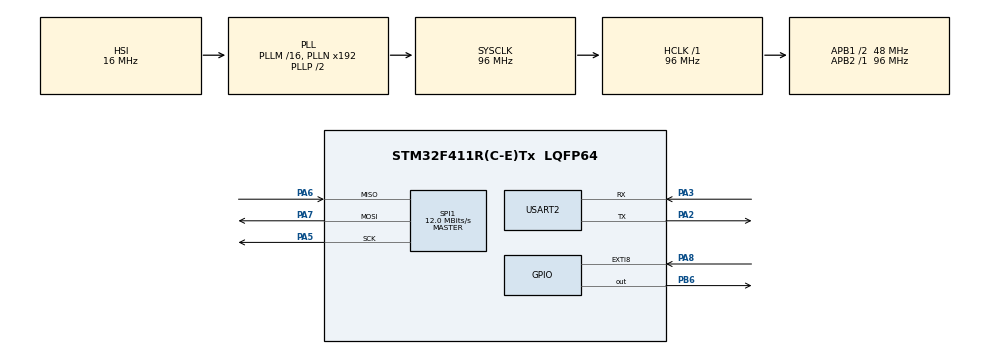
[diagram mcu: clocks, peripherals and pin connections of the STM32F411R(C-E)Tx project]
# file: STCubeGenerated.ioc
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Mcu.Family=STM32F4
Mcu.Name=STM32F411R(C-E)Tx
Mcu.Package=LQFP64
NVIC.EXTI9_5_IRQn=true\:0\:0\:false\:false\:true\:true\:true
NVIC.PriorityGroup=NVIC_PRIORITYGROUP_4
NVIC.SPI1_IRQn=true\:0\:0\:false\:false\:true\:true\:true
NVIC.USART2_IRQn=true\:0\:0\:false\:false\:true\:true\:true
PA13.Mode=Serial_Wire
PA13.Signal=SYS_JTMS-SWDIO
PA14.Mode=Serial_Wire
PA14.Signal=SYS_JTCK-SWCLK
PA2.Mode=Asynchronous
PA2.Signal=USART2_TX
PA3.Mode=Asynchronous
PA3.Signal=USART2_RX
PA5.Mode=Full_Duplex_Master
PA5.Signal=SPI1_SCK
PA6.Mode=Full_Duplex_Master
PA6.Signal=SPI1_MISO
PA7.Mode=Full_Duplex_Master
PA7.Signal=SPI1_MOSI
PA8.Signal=GPXTI8
PB6.Signal=GPIO_Output
PC14-OSC32_IN.Mode=LSE-External-Oscillator
PC14-OSC32_IN.Signal=RCC_OSC32_IN
PC15-OSC32_OUT.Mode=LSE-External-Oscillator
PC15-OSC32_OUT.Signal=RCC_OSC32_OUT
PH0\ -\ OSC_IN.Mode=HSE-External-Clock-Source
PH0\ -\ OSC_IN.Signal=RCC_OSC_IN
PH1\ -\ OSC_OUT.Mode=HSE-External-Clock-Source
PH1\ -\ OSC_OUT.Signal=RCC_OSC_OUT
ProjectManager.HeapSize=0x200
ProjectManager.StackSize=0x400
ProjectManager.TargetToolchain=MDK-ARM V5
RCC.AHBFreq_Value=96000000
RCC.APB1CLKDivider=RCC_HCLK_DIV2
RCC.APB1Freq_Value=48000000
RCC.APB1TimFreq_Value=96000000
RCC.APB2Freq_Value=96000000
RCC.APB2TimFreq_Value=96000000
RCC.CortexFreq_Value=96000000
RCC.HCLKFreq_Value=96000000
RCC.HSE_VALUE=25000000
RCC.HSI_VALUE=16000000
RCC.SYSCLKFreq_VALUE=96000000
RCC.SYSCLKSource=RCC_SYSCLKSOURCE_PLLCLK
RCC.VCOOutputFreq_Value=192000000
SPI1.BaudRatePrescaler=SPI_BAUDRATEPRESCALER_8
SPI1.CalculateBaudRate=12.0 MBits/s
SPI1.Direction=SPI_DIRECTION_2LINES
SPI1.Mode=SPI_MODE_MASTER
SPI1.VirtualType=VM_MASTER
USART2.VirtualMode=VM_ASYNC
board=custom

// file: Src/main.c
/* USER CODE BEGIN Header */
/**
  ******************************************************************************
  * @file           : main.c
  * @brief          : Main program body
  ******************************************************************************
  * @attention
  *
  * <h2><center>&copy; Copyright (c) 2019 STMicroelectronics.
  * All rights reserved.</center></h2>
  *
  * This software component is licensed by ST under BSD 3-Clause license,
  * the "License"; You may not use this file except in compliance with the
  * License. You may obtain a copy of the License at:
  *                        opensource.org/licenses/BSD-3-Clause
  *
  ******************************************************************************
  */
/* USER CODE END Header */

#include "main.h"

/* USER CODE BEGIN Includes */
#include "stdio.h"
#include "string.h"
/* USER CODE END Includes */

/* USER CODE BEGIN PD */
#define KEIL //KEIL ,True_STD
/* USER CODE END PD */

SPI_HandleTypeDef hspi1;

UART_HandleTypeDef huart2;

/* USER CODE BEGIN PV */
#ifdef KEIL
     #ifdef __GNUC__
     //With GCC, small printf (option LD Linker->Libraries->Small printf
     //set to 'Yes') calls __io_putchar()
         #define PUTCHAR_PROTOTYPE int __io_putchar(int ch)
		#else
				 #define PUTCHAR_PROTOTYPE int fputc(int ch, FILE *f)
		#endif /* __GNUC__*/
PUTCHAR_PROTOTYPE
{
	HAL_UART_Transmit(&huart2, (uint8_t *)&ch, 1, 0xFFFF);
	return ch;
}
#endif

#ifdef True_STD
int _write(int fd, char *str, int len)
{
	for(int i=0; i<len; i++)
	{
		HAL_UART_Transmit(&huart2, (uint8_t *)&str[i], 1, 0xFFFF);
	}
	return len;
}
#endif
uint8_t rxData;
void HAL_UART_RxCpltCallback(UART_HandleTypeDef *huart) {

	/*
			This will be called once data is received successfully,
			via interrupts.
	*/

	 /*
		 loop back received data
	 */
	 HAL_UART_Receive_IT(&huart2, &rxData, 1);
	 HAL_UART_Transmit(&huart2, &rxData, 1, 1000);
	 //massage input end enter key flag
	#if 0
	 URX_BUF[URX_BUF_cnt++] = rxData;
	 if((rxData == '\r') ||(URX_BUF_cnt > 512))
	 {
		 URX_BUF_Flag = 1;
	 }
	#endif
}
/* USER CODE END PV */

void SystemClock_Config(void);
static void MX_GPIO_Init(void);
static void MX_SPI1_Init(void);
static void MX_USART2_UART_Init(void);

int main(void)
{

  /* MCU Configuration--------------------------------------------------------*/

  /* Reset of all peripherals, Initializes the Flash interface and the Systick. */
  HAL_Init();

  /* Configure the system clock */
  SystemClock_Config();

  /* Initialize all configured peripherals */
  MX_GPIO_Init();
  MX_SPI1_Init();
  MX_USART2_UART_Init();
  /* USER CODE BEGIN 2 */
	printf("hello !!\r\n");
  /* USER CODE END 2 */

  /* Infinite loop */
  while (1)
  {

  }
}

void SystemClock_Config(void)
{
  RCC_OscInitTypeDef RCC_OscInitStruct = {0};
  RCC_ClkInitTypeDef RCC_ClkInitStruct = {0};

  /** Configure the main internal regulator output voltage
  */
  __HAL_RCC_PWR_CLK_ENABLE();
  __HAL_PWR_VOLTAGESCALING_CONFIG(PWR_REGULATOR_VOLTAGE_SCALE1);
  /** Initializes the CPU, AHB and APB busses clocks
  */
  RCC_OscInitStruct.OscillatorType = RCC_OSCILLATORTYPE_HSI;
  RCC_OscInitStruct.HSIState = RCC_HSI_ON;
  RCC_OscInitStruct.HSICalibrationValue = RCC_HSICALIBRATION_DEFAULT;
  RCC_OscInitStruct.PLL.PLLState = RCC_PLL_ON;
  RCC_OscInitStruct.PLL.PLLSource = RCC_PLLSOURCE_HSI;
  RCC_OscInitStruct.PLL.PLLM = 16;
  RCC_OscInitStruct.PLL.PLLN = 192;
  RCC_OscInitStruct.PLL.PLLP = RCC_PLLP_DIV2;
  RCC_OscInitStruct.PLL.PLLQ = 4;
  if (HAL_RCC_OscConfig(&RCC_OscInitStruct) != HAL_OK)
  {
    Error_Handler();
  }
  /** Initializes the CPU, AHB and APB busses clocks
  */
  RCC_ClkInitStruct.ClockType = RCC_CLOCKTYPE_HCLK|RCC_CLOCKTYPE_SYSCLK
                              |RCC_CLOCKTYPE_PCLK1|RCC_CLOCKTYPE_PCLK2;
  RCC_ClkInitStruct.SYSCLKSource = RCC_SYSCLKSOURCE_PLLCLK;
  RCC_ClkInitStruct.AHBCLKDivider = RCC_SYSCLK_DIV1;
  RCC_ClkInitStruct.APB1CLKDivider = RCC_HCLK_DIV2;
  RCC_ClkInitStruct.APB2CLKDivider = RCC_HCLK_DIV1;

  if (HAL_RCC_ClockConfig(&RCC_ClkInitStruct, FLASH_LATENCY_3) != HAL_OK)
  {
    Error_Handler();
  }
}

static void MX_SPI1_Init(void)
{

  /* SPI1 parameter configuration*/
  hspi1.Instance = SPI1;
  hspi1.Init.Mode = SPI_MODE_MASTER;
  hspi1.Init.Direction = SPI_DIRECTION_2LINES;
  hspi1.Init.DataSize = SPI_DATASIZE_8BIT;
  hspi1.Init.CLKPolarity = SPI_POLARITY_LOW;
  hspi1.Init.CLKPhase = SPI_PHASE_1EDGE;
  hspi1.Init.NSS = SPI_NSS_SOFT;
  hspi1.Init.BaudRatePrescaler = SPI_BAUDRATEPRESCALER_8;
  hspi1.Init.FirstBit = SPI_FIRSTBIT_MSB;
  hspi1.Init.TIMode = SPI_TIMODE_DISABLE;
  hspi1.Init.CRCCalculation = SPI_CRCCALCULATION_DISABLE;
  hspi1.Init.CRCPolynomial = 10;
  if (HAL_SPI_Init(&hspi1) != HAL_OK)
  {
    Error_Handler();
  }

}

static void MX_USART2_UART_Init(void)
{

  huart2.Instance = USART2;
  huart2.Init.BaudRate = 115200;
  huart2.Init.WordLength = UART_WORDLENGTH_8B;
  huart2.Init.StopBits = UART_STOPBITS_1;
  huart2.Init.Parity = UART_PARITY_NONE;
  huart2.Init.Mode = UART_MODE_TX_RX;
  huart2.Init.HwFlowCtl = UART_HWCONTROL_NONE;
  huart2.Init.OverSampling = UART_OVERSAMPLING_16;
  if (HAL_UART_Init(&huart2) != HAL_OK)
  {
    Error_Handler();
  }

}

static void MX_GPIO_Init(void)
{
  GPIO_InitTypeDef GPIO_InitStruct = {0};

  /* GPIO Ports Clock Enable */
  __HAL_RCC_GPIOC_CLK_ENABLE();
  __HAL_RCC_GPIOH_CLK_ENABLE();
  __HAL_RCC_GPIOA_CLK_ENABLE();
  __HAL_RCC_GPIOB_CLK_ENABLE();

  /*Configure GPIO pin Output Level */
  HAL_GPIO_WritePin(GPIOB, GPIO_PIN_6, GPIO_PIN_RESET);

  /*Configure GPIO pin : PA8 */
  GPIO_InitStruct.Pin = GPIO_PIN_8;
  GPIO_InitStruct.Mode = GPIO_MODE_IT_RISING;
  GPIO_InitStruct.Pull = GPIO_NOPULL;
  HAL_GPIO_Init(GPIOA, &GPIO_InitStruct);

  /*Configure GPIO pin : PB6 */
  GPIO_InitStruct.Pin = GPIO_PIN_6;
  GPIO_InitStruct.Mode = GPIO_MODE_OUTPUT_PP;
  GPIO_InitStruct.Pull = GPIO_NOPULL;
  GPIO_InitStruct.Speed = GPIO_SPEED_FREQ_LOW;
  HAL_GPIO_Init(GPIOB, &GPIO_InitStruct);

  /* EXTI interrupt init*/
  HAL_NVIC_SetPriority(EXTI9_5_IRQn, 0, 0);
  HAL_NVIC_EnableIRQ(EXTI9_5_IRQn);

}

void Error_Handler(void)
{
}

/************************ (C) COPYRIGHT STMicroelectronics *****END OF FILE****/
